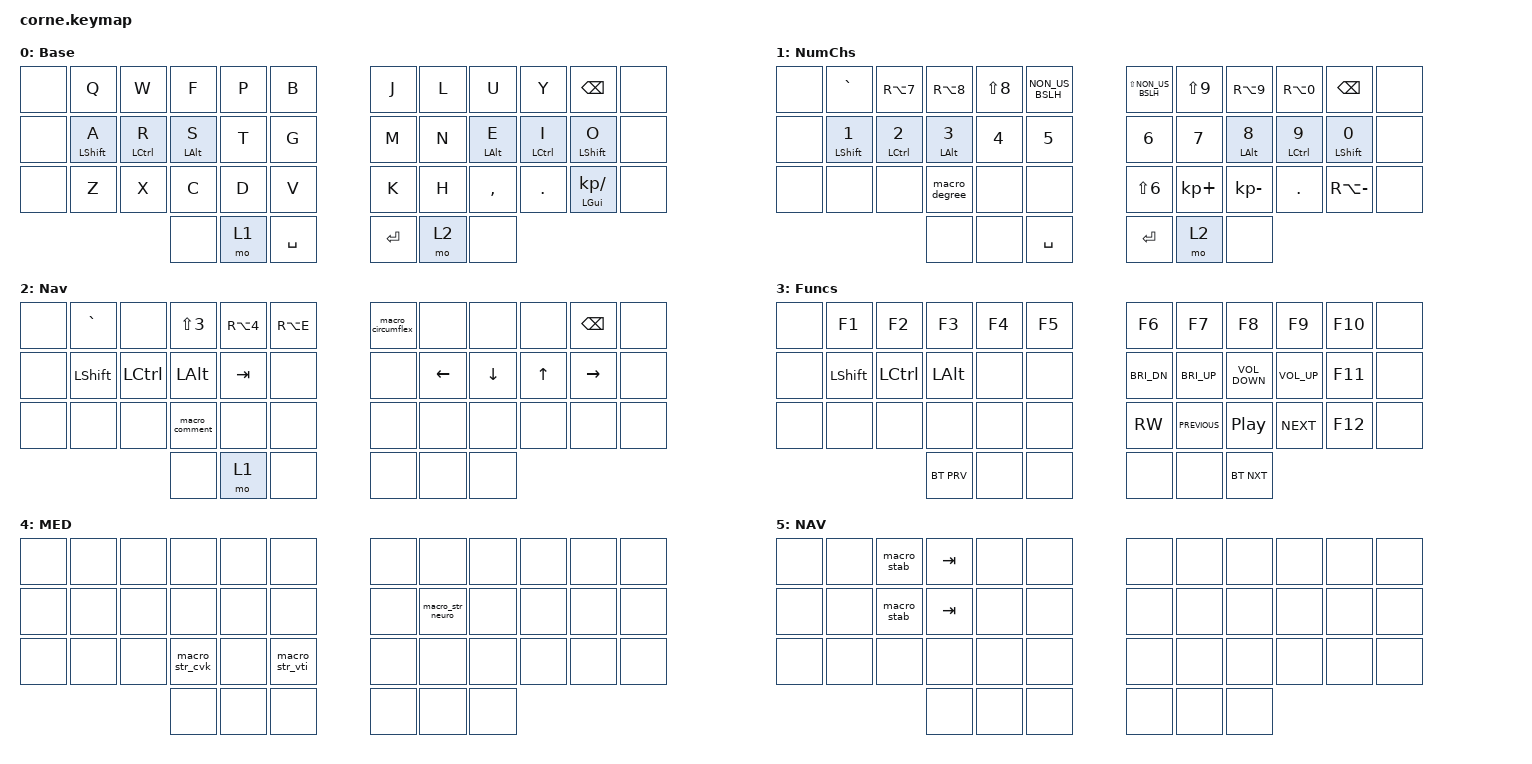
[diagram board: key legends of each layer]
#include <behaviors.dtsi>
#include <dt-bindings/zmk/keys.h>
#include <dt-bindings/zmk/bt.h>

/ {
    behaviors {
        lhm: homerow_mods_left {
            compatible = "zmk,behavior-hold-tap";
            #binding-cells = <2>;
            flavor = "balanced";
            tapping-term-ms = <200>;
            quick-tap-ms = <0>;
            bindings = <&kp>, <&kp>;
            hold-trigger-key-positions = <6 7 8 9 10 11 18 19 20 21 22 23 30 31 32 33 34 35>;
        };
        lhm_ctrl: homerow_mods_left_ctrl {
            compatible = "zmk,behavior-hold-tap";
            #binding-cells = <2>;
            flavor = "balanced";
            tapping-term-ms = <200>;
            quick-tap-ms = <0>;
            bindings = <&kp>, <&kp>;
            hold-trigger-key-positions = <6 7 8 9 10 11 18 19 20 21 22 23 30 31 32 33 34 35 27 29>;
        };
        lhm_alt: homerow_mods_left_alt {
            compatible = "zmk,behavior-hold-tap";
            #binding-cells = <2>;
            flavor = "balanced";
            tapping-term-ms = <200>;
            quick-tap-ms = <0>;
            bindings = <&kp>, <&kp>;
            hold-trigger-key-positions = <6 7 8 9 10 11 18 19 20 21 22 23 30 31 32 33 34 35>;
        };
        rhm: homerow_mods_right {
            compatible = "zmk,behavior-hold-tap";
            #binding-cells = <2>;
            flavor = "balanced";
            tapping-term-ms = <200>;
            quick-tap-ms = <0>;
            bindings = <&kp>, <&kp>;
            hold-trigger-key-positions = <0 1 2 3 4 5 12 13 14 15 16 17 24 25 26 27 28 29>;
        };
    };

    macros {
        macro_altctrllayer: macro_altctrllayer {
            compatible = "zmk,behavior-macro";
            wait-ms = <10>;
            tap-ms = <10>;
            #binding-cells = <0>;
            bindings =
                <&macro_press &mo 5>,
                <&macro_press &kp LCTRL>,
                <&macro_pause_for_release>,
                <&macro_release &kp LCTRL>,
                <&macro_release &mo 5>;
        };
        macro_altnavlayer: macro_altnavlayer {
            compatible = "zmk,behavior-macro";
            wait-ms = <10>;
            tap-ms = <10>;
            #binding-cells = <0>;
            bindings =
                <&macro_press &mo 5>,
                <&macro_press &kp LALT>,
                <&macro_pause_for_release>,
                <&macro_release &kp LALT>,
                <&macro_release &mo 5>;
        };
        macro_backtick: macro_backtick {
            compatible = "zmk,behavior-macro";
            #binding-cells = <0>;
            bindings =
                <&macro_press &kp RSHIFT>,
                <&macro_tap &kp EQUAL>,
                <&macro_release &kp RSHIFT>,
                <&macro_tap &kp SPACE>;
        };
        macro_circumflex: macro_circumflex {
            compatible = "zmk,behavior-macro";
            #binding-cells = <0>;
            bindings =
                <&macro_press &kp RSHIFT>,
                <&macro_tap &kp RIGHT_BRACKET>,
                <&macro_release &kp RSHIFT>,
                <&macro_tap &kp SPACE>;
        };
        macro_comment: macro_comment {
            compatible = "zmk,behavior-macro";
            wait-ms = <10>;
            tap-ms = <10>;
            #binding-cells = <0>;
            bindings =
                <&macro_press &kp LCTRL>,
                <&macro_tap &kp BSLH>,
                <&macro_release &kp LCTRL>;
        };
        macro_degree: macro_degree {
            compatible = "zmk,behavior-macro";
            #binding-cells = <0>;
            bindings =
                <&macro_press &kp LALT>,
                <&macro_tap &kp KP_N0 &kp KP_N1 &kp KP_N7 &kp KP_N6>,
                <&macro_release &kp LALT>;
        };
        macro_emdash: macro_emdash {
            compatible = "zmk,behavior-macro";
            #binding-cells = <0>;
            bindings =
                <&macro_press &kp LALT>,
                <&macro_tap &kp KP_N0 &kp KP_N1 &kp KP_N5 &kp KP_N1>,
                <&macro_release &kp LALT>;
        };
        macro_greater_or_equal: macro_greater_or_equal {
            compatible = "zmk,behavior-macro";
            #binding-cells = <0>;
            bindings =
                <&macro_tap &kp LS(NON_US_BSLH) &kp RPAR>;
        };
        macro_less_or_equal: macro_less_or_equal {
            compatible = "zmk,behavior-macro";
            #binding-cells = <0>;
            bindings =
                <&macro_tap &kp NON_US_BSLH &kp RPAR>;
        };
        macro_permille: macro_permille {
            compatible = "zmk,behavior-macro";
            #binding-cells = <0>;
            bindings =
                <&macro_press &kp LALT>,
                <&macro_tap &kp KP_N0 &kp KP_N1 &kp KP_N3 &kp KP_N7>,
                <&macro_release &kp LALT>;
        };
        macro_stab: macro_stab {
            compatible = "zmk,behavior-macro";
            wait-ms = <10>;
            tap-ms = <10>;
            #binding-cells = <0>;
            bindings =
                <&macro_press &kp LSHIFT>,
                <&macro_tap &kp TAB>,
                <&macro_release &kp LSHIFT>;
        };
        macro_str_cvk: macro_str_cvk {
            compatible = "zmk,behavior-macro";
            wait-ms = <10>;
            tap-ms = <10>;
            #binding-cells = <0>;
            bindings =
                <&macro_tap &kp LS(A) &kp S &kp E &kp T &kp E &kp T &kp T &kp U &kp SPACE &kp N1 &kp N6 &kp SPACE &kp C &kp M &kp SPACE &kp N2 &kp KP_MINUS &kp L &kp U &kp M &kp E &kp N &kp SPACE &kp LS(C) &kp LS(V) &kp LS(K) &kp SPACE &kp O &kp I &kp K &kp E &kp A &kp L &kp T &kp A &kp SPACE &kp V &kp PERIOD &kp SPACE &kp J &kp U &kp G &kp U &kp L &kp A &kp R &kp I &kp S &kp SPACE &kp I &kp N &kp T &kp E &kp R &kp N &kp A &kp A &kp N &kp PERIOD &kp SPACE &kp LS(T) &kp M &kp P &kp PERIOD &kp SPACE &kp S &kp T &kp E &kp R &kp I &kp I &kp L &kp I &kp S &kp T &kp I &kp COMMA &kp SPACE &kp U &kp SINGLE_QUOTE &kp LS(PERIOD) &kp T &kp SINGLE_QUOTE &kp SPACE &kp K &kp SINGLE_QUOTE &kp Y &kp T &kp T &kp SINGLE_QUOTE &kp E &kp N &kp PERIOD &kp SPACE &kp LS(E) &kp I &kp SPACE &kp E &kp P &kp SINGLE_QUOTE &kp I &kp L &kp Y &kp SINGLE_QUOTE &kp SPACE &kp K &kp O &kp M &kp P &kp L &kp I &kp K &kp A &kp A &kp T &kp I &kp O &kp S &kp T &kp A &kp PERIOD &kp SPACE &kp LS(T) &kp LS(H) &kp LS(X) &kp SPACE &kp O &kp K &kp COMMA &kp SPACE &kp S &kp A &kp A &kp SPACE &kp K &kp SINGLE_QUOTE &kp Y &kp T &kp T &kp SINGLE_QUOTE &kp SINGLE_QUOTE &kp PERIOD>;
        };
        macro_str_neuro: macro_str_neuro {
            compatible = "zmk,behavior-macro";
            wait-ms = <10>;
            tap-ms = <10>;
            #binding-cells = <0>;
            bindings =
                <&macro_tap &kp LS(C) &kp LS(N) &kp N2 &kp KP_MINUS &kp N1 &kp N2 &kp LS(PERIOD) &kp SPACE &kp O &kp K &kp PERIOD &kp SPACE &kp LS(S) &kp I &kp L &kp M &kp I &kp E &kp N &kp SPACE &kp L &kp I &kp I &kp K &kp E &kp SPACE &kp N &kp O &kp R &kp M &kp A &kp A &kp L &kp I &kp SPACE &kp LS(N8) &kp LS(H) &kp KP_MINUS &kp T &kp E &kp S &kp T &kp I &kp LS(N9) &kp COMMA &kp SPACE &kp N &kp Y &kp S &kp T &kp A &kp G &kp M &kp U &kp S &kp SPACE &kp N &kp E &kp G &kp LS(COMMA) &kp SPACE &kp V &kp A &kp L &kp O &kp R &kp E &kp A &kp K &kp T &kp I &kp O &kp SPACE &kp A &kp D &kp E &kp K &kp V &kp A &kp A &kp T &kp T &kp I &kp COMMA &kp SPACE &kp S &kp Y &kp M &kp M &kp E &kp T &kp R &kp I &kp N &kp E &kp N &kp LS(COMMA) &kp SPACE &kp K &kp A &kp S &kp V &kp O &kp J &kp E &kp N &kp SPACE &kp T &kp U &kp N &kp T &kp O &kp SPACE &kp J &kp A &kp SPACE &kp M &kp O &kp T &kp O &kp R &kp I &kp I &kp K &kp K &kp A &kp SPACE &kp N &kp O &kp R &kp M &kp A &kp A &kp L &kp I &kp T &kp COMMA &kp SPACE &kp S &kp Y &kp M &kp M &kp E &kp T &kp R &kp I &kp S &kp E &kp T &kp LS(COMMA) &kp SPACE &kp K &kp I &kp E &kp L &kp I &kp SPACE &kp E &kp I &kp SPACE &kp D &kp E &kp V &kp I &kp O &kp I &kp LS(COMMA) &kp SPACE &kp H &kp A &kp R &kp T &kp I &kp A &kp T &kp SPACE &kp K &kp O &kp H &kp O &kp A &kp V &kp A &kp T &kp SPACE &kp S &kp Y &kp M &kp M &kp E &kp T &kp R &kp I &kp S &kp E &kp S &kp T &kp I &kp PERIOD &kp SPACE &kp LS(S) &kp LS(N) &kp LS(K) &kp SPACE &kp T &kp A &kp R &kp K &kp K &kp A &kp PERIOD &kp SPACE &kp LS(R) &kp H &kp O &kp M &kp B &kp E &kp R &kp G &kp SPACE &kp S &kp T &kp A &kp B &kp I &kp I &kp L &kp I &kp PERIOD &kp SPACE &kp LS(E) &kp I &kp SPACE &kp T &kp SINGLE_QUOTE &kp R &kp I &kp N &kp SINGLE_QUOTE &kp SINGLE_QUOTE &kp PERIOD>;
        };
        macro_str_vti: macro_str_vti {
            compatible = "zmk,behavior-macro";
            wait-ms = <10>;
            tap-ms = <10>;
            #binding-cells = <0>;
            bindings =
                <&macro_tap &kp LS(Y) &kp LS(T) &kp SPACE &kp H &kp Y &kp V &kp SINGLE_QUOTE &kp COMMA &kp SPACE &kp E &kp I &kp SPACE &kp K &kp U &kp U &kp M &kp E &kp T &kp T &kp A &kp PERIOD &kp SPACE &kp LS(V) &kp LS(T) &kp LS(I) &kp KP_MINUS &kp O &kp I &kp R &kp E &kp E &kp T &kp LS(PERIOD) &kp SPACE &kp P &kp O &kp L &kp L &kp A &kp K &kp I &kp S &kp U &kp R &kp I &kp A &kp COMMA &kp SPACE &kp V &kp I &kp R &kp T &kp S &kp A &kp A &kp M &kp I &kp S &kp E &kp E &kp N &kp SPACE &kp L &kp I &kp I &kp T &kp T &kp Y &kp V &kp SINGLE_QUOTE &kp SPACE &kp K &kp I &kp R &kp V &kp E &kp L &kp Y &kp PERIOD &kp SPACE &kp LS(K) &kp O &kp P &kp U &kp T &kp E &kp L &kp L &kp E &kp N &kp SPACE &kp S &kp E &kp L &kp SINGLE_QUOTE &kp S &kp T &kp SINGLE_QUOTE &kp SPACE &kp E &kp I &kp SPACE &kp A &kp R &kp I &kp S &kp T &kp U &kp S &kp T &kp A &kp PERIOD &kp SPACE &kp LS(P) &kp I &kp V &kp M &kp E &kp S &kp I &kp L &kp L &kp I &kp N &kp A &kp A &kp M &kp I &kp SPACE &kp N4 &kp N0 &kp N0 &kp SPACE &kp M &kp G &kp SPACE &kp X &kp SPACE &kp N2 &kp SPACE &kp K &kp O &kp L &kp M &kp E &kp N &kp SPACE &kp V &kp R &kp K &kp SPACE &kp A &kp J &kp A &kp N &kp PERIOD>;
        };
        macro_tilde: macro_tilde {
            compatible = "zmk,behavior-macro";
            #binding-cells = <0>;
            bindings =
                <&macro_press &kp RALT>,
                <&macro_tap &kp RIGHT_BRACKET>,
                <&macro_release &kp RALT>,
                <&macro_tap &kp SPACE>;
        };
    };

    combos {
        compatible = "zmk,combos";
        combo_capslock {
            timeout-ms = <20>;
            key-positions = <13 22>;
            bindings = <&kp CAPSLOCK>;
            layers = <0>;
        };
        combo_insert {
            timeout-ms = <20>;
            key-positions = <25 34>;
            bindings = <&kp INSERT>;
            layers = <0>;
        };
        combo_emark {
            timeout-ms = <20>;
            key-positions = <1 2>;
            bindings = <&kp EXCLAMATION>;
            layers = <0>;
        };
        combo_atsign {
            timeout-ms = <20>;
            key-positions = <2 3>;
            bindings = <&kp RA(N2)>;
            layers = <0>;
        };
        combo_ctrlnavlayer {
            timeout-ms = <20>;
            key-positions = <1 4>;
            bindings = <&macro_altctrllayer>;
            layers = <0>;
        };
        combo_tilde {
            timeout-ms = <20>;
            key-positions = <6 7>;
            bindings = <&macro_tilde>;
            layers = <0>;
        };
        combo_emdash {
            timeout-ms = <20>;
            key-positions = <6 7 8>;
            bindings = <&macro_emdash>;
            layers = <0>;
        };
        combo_dash {
            timeout-ms = <20>;
            key-positions = <7 8>;
            bindings = <&kp KP_MINUS>;
            layers = <0>;
        };
        combo_uscore {
            timeout-ms = <20>;
            key-positions = <7 8 9>;
            bindings = <&kp QMARK>;
            layers = <0>;
        };
        combo_qmark {
            timeout-ms = <20>;
            key-positions = <8 9>;
            bindings = <&kp UNDERSCORE>;
            layers = <0>;
        };
        combo_delete {
            timeout-ms = <40>;
            key-positions = <9 10>;
            bindings = <&kp DEL>;
            layers = <0 1 2>;
        };
        combo_ae {
            timeout-ms = <20>;
            key-positions = <13 14>;
            bindings = <&kp SINGLE_QUOTE>;
            layers = <0>;
        };
        combo_esc {
            timeout-ms = <20>;
            key-positions = <13 14 15>;
            bindings = <&kp ESC>;
            layers = <0 1 2>;
        };
        combo_stab {
            timeout-ms = <20>;
            key-positions = <14 15>;
            bindings = <&macro_stab>;
            layers = <0>;
        };
        combo_tab {
            timeout-ms = <20>;
            key-positions = <15 16>;
            bindings = <&kp TAB>;
            layers = <0>;
        };
        combo_altnavlayer {
            timeout-ms = <20>;
            key-positions = <13 16>;
            bindings = <&macro_altnavlayer>;
            layers = <0>;
        };
        combo_btick {
            timeout-ms = <20>;
            key-positions = <18 19>;
            bindings = <&macro_backtick>;
            layers = <0>;
        };
        combo_squote {
            timeout-ms = <20>;
            key-positions = <19 20>;
            bindings = <&kp BSLH>;
            layers = <0>;
        };
        combo_dquote {
            timeout-ms = <20>;
            key-positions = <19 20 21>;
            bindings = <&kp LS(N2)>;
            layers = <0>;
        };
        combo_equals {
            timeout-ms = <20>;
            key-positions = <20 21>;
            bindings = <&kp RPAR>;
            layers = <0 1>;
        };
        combo_oe {
            timeout-ms = <20>;
            key-positions = <21 22>;
            bindings = <&kp SEMICOLON>;
            layers = <0>;
        };
        combo_bslash {
            timeout-ms = <20>;
            key-positions = <33 34>;
            bindings = <&kp RA(MINUS)>;
            layers = <0 1>;
        };
        combo_gui {
            timeout-ms = <20>;
            key-positions = <25 26>;
            bindings = <&kp LGUI>;
            layers = <0 1 2>;
        };
        combo_percent {
            timeout-ms = <20>;
            key-positions = <26 27>;
            bindings = <&kp LS(N5)>;
            layers = <0 1 2>;
        };
        combo_permille {
            timeout-ms = <20>;
            key-positions = <26 27 28>;
            bindings = <&macro_permille>;
            layers = <0 1 2>;
        };
        combo_pipe {
            timeout-ms = <20>;
            key-positions = <30 31>;
            bindings = <&kp RA(NON_US_BSLH)>;
            layers = <0>;
        };
        combo_scolon {
            timeout-ms = <20>;
            key-positions = <31 32>;
            bindings = <&kp LS(COMMA)>;
            layers = <0>;
        };
        combo_colon {
            timeout-ms = <20>;
            key-positions = <32 33>;
            bindings = <&kp LS(PERIOD)>;
            layers = <0>;
        };
        combo_momentary_layer_3 {
            timeout-ms = <80>;
            key-positions = <37 40>;
            bindings = <&mo 3>;
            layers = <0>;
        };
        combo_momentary_layer_4 {
            timeout-ms = <80>;
            key-positions = <36 41>;
            bindings = <&mo 4>;
            layers = <0>;
        };
        combo_less_or_equal {
            timeout-ms = <80>;
            key-positions = <4 5>;
            bindings = <&macro_less_or_equal>;
            layers = <1>;
        };
        combo_circumflex {
            timeout-ms = <80>;
            key-positions = <5 6>;
            bindings = <&macro_circumflex>;
            layers = <1>;
        };
        combo_greater_or_equal {
            timeout-ms = <80>;
            key-positions = <6 7>;
            bindings = <&macro_greater_or_equal>;
            layers = <1>;
        };
        combo_euro {
            timeout-ms = <80>;
            key-positions = <27 28>;
            bindings = <&kp RA(E)>;
            layers = <1>;
        };
        combo_multiply {
            timeout-ms = <20>;
            key-positions = <31 32>;
            bindings = <&kp KP_MULTIPLY>;
            layers = <1>;
        };
        combo_divide {
            timeout-ms = <20>;
            key-positions = <32 33>;
            bindings = <&kp KP_DIVIDE>;
            layers = <1>;
        };
        combo_page_up {
            timeout-ms = <80>;
            key-positions = <8 9>;
            bindings = <&kp PG_UP>;
            layers = <2>;
        };
        combo_home {
            timeout-ms = <80>;
            key-positions = <19 20>;
            bindings = <&kp HOME>;
            layers = <2>;
        };
        combo_page_down {
            timeout-ms = <80>;
            key-positions = <20 21>;
            bindings = <&kp PG_DN>;
            layers = <2>;
        };
        combo_end {
            timeout-ms = <80>;
            key-positions = <21 22>;
            bindings = <&kp END>;
            layers = <2>;
        };
        combo_clear_bt_profile {
            timeout-ms = <20>;
            key-positions = <36 41>;
            bindings = <&bt BT_CLR>;
            layers = <3>;
        };
    };

    keymap {
        compatible = "zmk,keymap";
        L0 {
            label = "Base";
            bindings = <
&none  &kp Q          &kp W              &kp F            &kp P  &kp B      &kp J      &kp L  &kp U        &kp Y         &kp BACKSPACE        &none
&none  &lhm LSHIFT A  &lhm_ctrl LCTRL R  &lhm_alt LALT S  &kp T  &kp G      &kp M      &kp N  &rhm LALT E  &rhm LCTRL I  &rhm LSHIFT O        &none
&none  &kp Z          &kp X              &kp C            &kp D  &kp V      &kp K      &kp H  &kp COMMA    &kp PERIOD    &rhm LGUI KP_DIVIDE  &none
                                         &none            &mo 1  &kp SPACE  &kp ENTER  &mo 2  &none      
            >;
        };
        L1 {
            label = "NumChs";
            bindings = <
&none  &kp GRAVE       &kp RA(N7)     &kp RA(N8)     &kp LS(N8)  &kp NON_US_BSLH  &kp LS(NON_US_BSLH)  &kp LS(N9)   &kp RA(N9)    &kp RA(N0)     &kp BACKSPACE   &none
&none  &lhm LSHIFT N1  &lhm LCTRL N2  &lhm LALT N3   &kp N4      &kp N5           &kp N6               &kp N7       &rhm LALT N8  &rhm LCTRL N9  &rhm LSHIFT N0  &none
&none  &none           &none          &macro_degree  &none       &none            &kp LS(N6)           &kp KP_PLUS  &kp KP_MINUS  &kp PERIOD     &kp RA(MINUS)   &none
                                      &none          &none       &kp SPACE        &kp ENTER            &mo 2        &none       
            >;
        };
        L2 {
            label = "Nav";
            bindings = <
&none  &kp GRAVE   &none      &kp LS(N3)      &kp RA(N4)  &kp RA(E)  &macro_circumflex  &none     &none     &none   &kp BACKSPACE  &none
&none  &kp LSHIFT  &kp LCTRL  &kp LALT        &kp TAB     &none      &none              &kp LEFT  &kp DOWN  &kp UP  &kp RIGHT      &none
&none  &none       &none      &macro_comment  &none       &none      &none              &none     &none     &none   &none          &none
                              &none           &mo 1       &none      &none              &none     &none   
            >;
        };
        L3 {
            label = "Funcs";
            bindings = <
&none  &kp F1      &kp F2     &kp F3      &kp F4  &kp F5  &kp F6        &kp F7          &kp F8             &kp F9           &kp F10  &none
&none  &kp LSHIFT  &kp LCTRL  &kp LALT    &none   &none   &kp C_BRI_DN  &kp C_BRI_UP    &kp C_VOLUME_DOWN  &kp C_VOLUME_UP  &kp F11  &none
&none  &none       &none      &none       &none   &none   &kp C_RW      &kp C_PREVIOUS  &kp C_PP           &kp C_NEXT       &kp F12  &none
                              &bt BT_PRV  &none   &none   &none         &none           &bt BT_NXT       
            >;
        };
        L4 {
            label = "MED";
            bindings = <
&none  &none  &none  &none           &none  &none           &none  &none             &none  &none  &none  &none
&none  &none  &none  &none           &none  &none           &none  &macro_str_neuro  &none  &none  &none  &none
&none  &none  &none  &macro_str_cvk  &none  &macro_str_vti  &none  &none             &none  &none  &none  &none
                     &none           &none  &none           &none  &none             &none
            >;
        };
        L5 {
            label = "NAV";
            bindings = <
&none  &none  &macro_stab  &kp TAB  &none  &none  &none  &none  &none  &none  &none  &none
&none  &none  &macro_stab  &kp TAB  &none  &none  &none  &none  &none  &none  &none  &none
&none  &none  &none        &none    &none  &none  &none  &none  &none  &none  &none  &none
                           &none    &none  &none  &none  &none  &none
            >;
        };
    };
};
